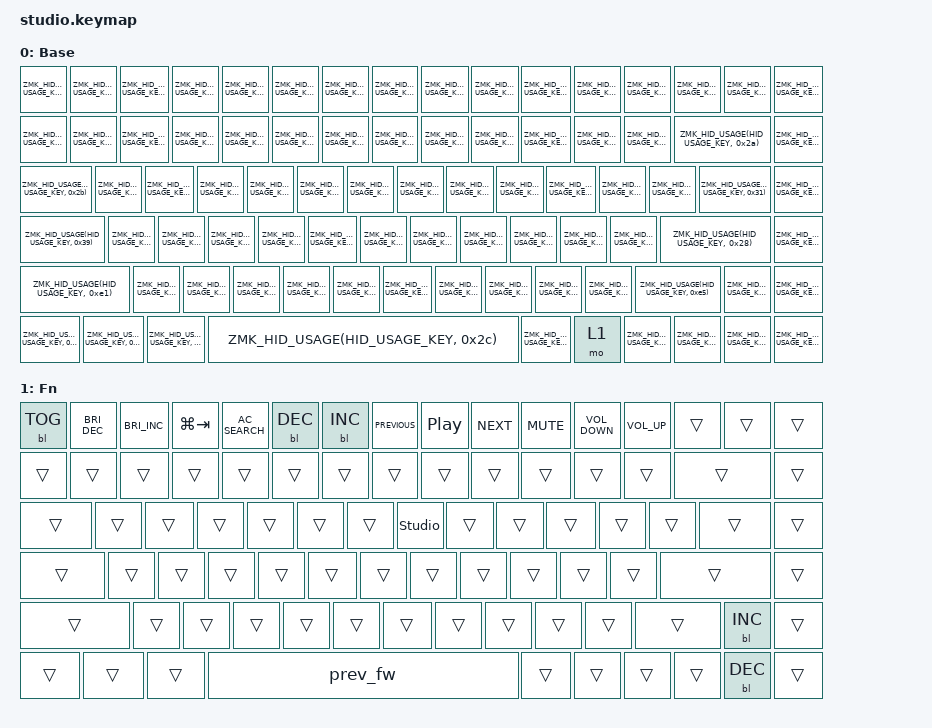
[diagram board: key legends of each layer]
#define ZMK_BEHAVIORS_KEEP_NONE
#define ZMK_BEHAVIORS_KEEP_TOG
#define ZMK_BEHAVIORS_KEEP_TO
/* Generated by tools/generate_edge_zmk.py; Fn+Space preserves stock recovery. */
#include <behaviors.dtsi>
#include <dt-bindings/zmk/keys.h>
#include <dt-bindings/zmk/backlight.h>
/ { keymap { compatible = "zmk,keymap";
 base_layer { display-name = "Base"; bindings = <
  &kp ZMK_HID_USAGE(HID_USAGE_KEY, 0x29)
  &kp ZMK_HID_USAGE(HID_USAGE_KEY, 0x3a)
  &kp ZMK_HID_USAGE(HID_USAGE_KEY, 0x3b)
  &kp ZMK_HID_USAGE(HID_USAGE_KEY, 0x3c)
  &kp ZMK_HID_USAGE(HID_USAGE_KEY, 0x3d)
  &kp ZMK_HID_USAGE(HID_USAGE_KEY, 0x3e)
  &kp ZMK_HID_USAGE(HID_USAGE_KEY, 0x3f)
  &kp ZMK_HID_USAGE(HID_USAGE_KEY, 0x40)
  &kp ZMK_HID_USAGE(HID_USAGE_KEY, 0x41)
  &kp ZMK_HID_USAGE(HID_USAGE_KEY, 0x42)
  &kp ZMK_HID_USAGE(HID_USAGE_KEY, 0x43)
  &kp ZMK_HID_USAGE(HID_USAGE_KEY, 0x44)
  &kp ZMK_HID_USAGE(HID_USAGE_KEY, 0x45)
  &kp ZMK_HID_USAGE(HID_USAGE_KEY, 0x46)
  &kp ZMK_HID_USAGE(HID_USAGE_KEY, 0x49)
  &kp ZMK_HID_USAGE(HID_USAGE_KEY, 0x35)
  &kp ZMK_HID_USAGE(HID_USAGE_KEY, 0x1e)
  &kp ZMK_HID_USAGE(HID_USAGE_KEY, 0x1f)
  &kp ZMK_HID_USAGE(HID_USAGE_KEY, 0x20)
  &kp ZMK_HID_USAGE(HID_USAGE_KEY, 0x21)
  &kp ZMK_HID_USAGE(HID_USAGE_KEY, 0x22)
  &kp ZMK_HID_USAGE(HID_USAGE_KEY, 0x23)
  &kp ZMK_HID_USAGE(HID_USAGE_KEY, 0x24)
  &kp ZMK_HID_USAGE(HID_USAGE_KEY, 0x25)
  &kp ZMK_HID_USAGE(HID_USAGE_KEY, 0x26)
  &kp ZMK_HID_USAGE(HID_USAGE_KEY, 0x27)
  &kp ZMK_HID_USAGE(HID_USAGE_KEY, 0x2d)
  &kp ZMK_HID_USAGE(HID_USAGE_KEY, 0x2e)
  &kp ZMK_HID_USAGE(HID_USAGE_KEY, 0x2a)
  &kp ZMK_HID_USAGE(HID_USAGE_KEY, 0x4a)
  &kp ZMK_HID_USAGE(HID_USAGE_KEY, 0x2b)
  &kp ZMK_HID_USAGE(HID_USAGE_KEY, 0x14)
  &kp ZMK_HID_USAGE(HID_USAGE_KEY, 0x1a)
  &kp ZMK_HID_USAGE(HID_USAGE_KEY, 0x08)
  &kp ZMK_HID_USAGE(HID_USAGE_KEY, 0x15)
  &kp ZMK_HID_USAGE(HID_USAGE_KEY, 0x17)
  &kp ZMK_HID_USAGE(HID_USAGE_KEY, 0x1c)
  &kp ZMK_HID_USAGE(HID_USAGE_KEY, 0x18)
  &kp ZMK_HID_USAGE(HID_USAGE_KEY, 0x0c)
  &kp ZMK_HID_USAGE(HID_USAGE_KEY, 0x12)
  &kp ZMK_HID_USAGE(HID_USAGE_KEY, 0x13)
  &kp ZMK_HID_USAGE(HID_USAGE_KEY, 0x2f)
  &kp ZMK_HID_USAGE(HID_USAGE_KEY, 0x30)
  &kp ZMK_HID_USAGE(HID_USAGE_KEY, 0x31)
  &kp ZMK_HID_USAGE(HID_USAGE_KEY, 0x4c)
  &kp ZMK_HID_USAGE(HID_USAGE_KEY, 0x39)
  &kp ZMK_HID_USAGE(HID_USAGE_KEY, 0x04)
  &kp ZMK_HID_USAGE(HID_USAGE_KEY, 0x16)
  &kp ZMK_HID_USAGE(HID_USAGE_KEY, 0x07)
  &kp ZMK_HID_USAGE(HID_USAGE_KEY, 0x09)
  &kp ZMK_HID_USAGE(HID_USAGE_KEY, 0x0a)
  &kp ZMK_HID_USAGE(HID_USAGE_KEY, 0x0b)
  &kp ZMK_HID_USAGE(HID_USAGE_KEY, 0x0d)
  &kp ZMK_HID_USAGE(HID_USAGE_KEY, 0x0e)
  &kp ZMK_HID_USAGE(HID_USAGE_KEY, 0x0f)
  &kp ZMK_HID_USAGE(HID_USAGE_KEY, 0x33)
  &kp ZMK_HID_USAGE(HID_USAGE_KEY, 0x34)
  &kp ZMK_HID_USAGE(HID_USAGE_KEY, 0x4d)
  &kp ZMK_HID_USAGE(HID_USAGE_KEY, 0x28)
  &kp ZMK_HID_USAGE(HID_USAGE_KEY, 0x4b)
  &kp ZMK_HID_USAGE(HID_USAGE_KEY, 0xe1)
  &kp ZMK_HID_USAGE(HID_USAGE_KEY, 0x1d)
  &kp ZMK_HID_USAGE(HID_USAGE_KEY, 0x1b)
  &kp ZMK_HID_USAGE(HID_USAGE_KEY, 0x06)
  &kp ZMK_HID_USAGE(HID_USAGE_KEY, 0x19)
  &kp ZMK_HID_USAGE(HID_USAGE_KEY, 0x05)
  &kp ZMK_HID_USAGE(HID_USAGE_KEY, 0x11)
  &kp ZMK_HID_USAGE(HID_USAGE_KEY, 0x10)
  &kp ZMK_HID_USAGE(HID_USAGE_KEY, 0x36)
  &kp ZMK_HID_USAGE(HID_USAGE_KEY, 0x37)
  &kp ZMK_HID_USAGE(HID_USAGE_KEY, 0x38)
  &kp ZMK_HID_USAGE(HID_USAGE_KEY, 0xe5)
  &kp ZMK_HID_USAGE(HID_USAGE_KEY, 0x52)
  &kp ZMK_HID_USAGE(HID_USAGE_KEY, 0xe0)
  &kp ZMK_HID_USAGE(HID_USAGE_KEY, 0xe3)
  &kp ZMK_HID_USAGE(HID_USAGE_KEY, 0xe2)
  &kp ZMK_HID_USAGE(HID_USAGE_KEY, 0x2c)
  &kp ZMK_HID_USAGE(HID_USAGE_KEY, 0x4f)
  &kp ZMK_HID_USAGE(HID_USAGE_KEY, 0xe6)
  &mo 1
  &kp ZMK_HID_USAGE(HID_USAGE_KEY, 0x4e)
  &kp ZMK_HID_USAGE(HID_USAGE_KEY, 0xe4)
  &kp ZMK_HID_USAGE(HID_USAGE_KEY, 0x50)
  &kp ZMK_HID_USAGE(HID_USAGE_KEY, 0x51)
 >; };
 fn_layer { display-name = "Fn"; bindings = <
  &bl BL_TOG /* Esc */
  &kp C_BRIGHTNESS_DEC /* F1 */
  &kp C_BRIGHTNESS_INC /* F2 */
  &kp LG(TAB) /* F3 */
  &kp C_AC_SEARCH /* F4 */
  &bl BL_DEC /* F5 */
  &bl BL_INC /* F6 */
  &kp C_PREVIOUS /* F7 */
  &kp C_PLAY_PAUSE /* F8 */
  &kp C_NEXT /* F9 */
  &kp C_MUTE /* F10 */
  &kp C_VOLUME_DOWN /* F11 */
  &kp C_VOLUME_UP /* F12 */
  &trans /* PrintScreen */
  &trans /* Insert */
  &trans /* ` */
  &trans /* 1 */
  &trans /* 2 */
  &trans /* 3 */
  &trans /* 4 */
  &trans /* 5 */
  &trans /* 6 */
  &trans /* 7 */
  &trans /* 8 */
  &trans /* 9 */
  &trans /* 0 */
  &trans /* - */
  &trans /* + */
  &trans /* BackSpace */
  &trans /* Home */
  &trans /* Tab */
  &trans /* Q */
  &trans /* W */
  &trans /* E */
  &trans /* R */
  &trans /* T */
  &trans /* Y */
  &studio_unlock /* U: unlock Studio */
  &trans /* I */
  &trans /* O */
  &trans /* P */
  &trans /* [ */
  &trans /* ] */
  &trans /* \\ */
  &trans /* Delete */
  &trans /* CapsLock */
  &trans /* A */
  &trans /* S */
  &trans /* D */
  &trans /* F */
  &trans /* G */
  &trans /* H */
  &trans /* J */
  &trans /* K */
  &trans /* L */
  &trans /* ; */
  &trans /* ' */
  &trans /* End */
  &trans /* Enter */
  &trans /* PageUp */
  &trans /* Shift */
  &trans /* Z */
  &trans /* X */
  &trans /* C */
  &trans /* V */
  &trans /* B */
  &trans /* N */
  &trans /* M */
  &trans /* , */
  &trans /* . */
  &trans /* / */
  &trans /* Rightshift */
  &bl BL_INC /* Up */
  &trans /* Ctrl */
  &trans /* Win */
  &trans /* Alt */
  &prev_fw /* Space */
  &trans /* Right */
  &trans /* Right Alt */
  &trans /* Fn */
  &trans /* PageDown */
  &trans /* Right Ctrl */
  &trans /* Left */
  &bl BL_DEC /* Down */
 >; };
 extra_2 { status = "reserved"; display-name = "Layer 2"; bindings = < &trans &trans &trans &trans &trans &trans &trans &trans &trans &trans &trans &trans &trans &trans &trans &trans &trans &trans &trans &trans &trans &trans &trans &trans &trans &trans &trans &trans &trans &trans &trans &trans &trans &trans &trans &trans &trans &trans &trans &trans &trans &trans &trans &trans &trans &trans &trans &trans &trans &trans &trans &trans &trans &trans &trans &trans &trans &trans &trans &trans &trans &trans &trans &trans &trans &trans &trans &trans &trans &trans &trans &trans &trans &trans &trans &trans &trans &trans &trans &trans &trans &trans &trans &trans >; };
}; };
